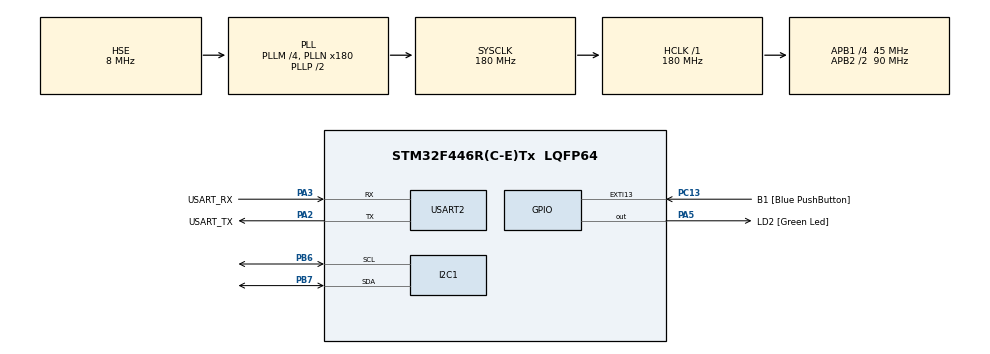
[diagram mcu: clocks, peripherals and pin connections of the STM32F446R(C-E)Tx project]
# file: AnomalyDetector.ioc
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I2C1.I2C_Mode=I2C_Fast
I2C1.OwnAddress=0x1D
Mcu.Family=STM32F4
Mcu.Name=STM32F446R(C-E)Tx
Mcu.Package=LQFP64
NVIC.PriorityGroup=NVIC_PRIORITYGROUP_0
PA13.GPIO_Label=TMS
PA13.Mode=Serial_Wire
PA13.Signal=SYS_JTMS-SWDIO
PA14.GPIO_Label=TCK
PA14.Mode=Serial_Wire
PA14.Signal=SYS_JTCK-SWCLK
PA2.GPIO_Label=USART_TX
PA2.Mode=Asynchronous
PA2.Signal=USART2_TX
PA3.GPIO_Label=USART_RX
PA3.Mode=Asynchronous
PA3.Signal=USART2_RX
PA5.GPIO_Label=LD2 [Green Led]
PA5.Signal=GPIO_Output
PB3.GPIO_Label=SWO
PB3.Signal=SYS_JTDO-SWO
PB6.Mode=I2C
PB6.Signal=I2C1_SCL
PB7.Mode=I2C
PB7.Signal=I2C1_SDA
PC13.GPIO_Label=B1 [Blue PushButton]
PC13.GPIO_ModeDefaultEXTI=GPIO_MODE_IT_FALLING
PC13.Signal=GPXTI13
PC14-OSC32_IN.Mode=LSE-External-Oscillator
PC14-OSC32_IN.Signal=RCC_OSC32_IN
PC15-OSC32_OUT.Mode=LSE-External-Oscillator
PC15-OSC32_OUT.Signal=RCC_OSC32_OUT
PH0-OSC_IN.Mode=HSE-External-Oscillator
PH0-OSC_IN.Signal=RCC_OSC_IN
PH1-OSC_OUT.Mode=HSE-External-Oscillator
PH1-OSC_OUT.Signal=RCC_OSC_OUT
ProjectManager.HeapSize=0x2000
ProjectManager.StackSize=0x1000
ProjectManager.TargetToolchain=Makefile
RCC.48MHZClocksFreq_Value=84000000
RCC.AHBFreq_Value=180000000
RCC.APB1CLKDivider=RCC_HCLK_DIV4
RCC.APB1Freq_Value=45000000
RCC.APB1TimFreq_Value=90000000
RCC.APB2CLKDivider=RCC_HCLK_DIV2
RCC.APB2Freq_Value=90000000
RCC.APB2TimFreq_Value=180000000
RCC.CortexFreq_Value=180000000
RCC.FLatency-AdvancedSettings=FLASH_LATENCY_5
RCC.HCLKFreq_Value=180000000
RCC.HSE_VALUE=8000000
RCC.HSI_VALUE=16000000
RCC.PLLM=4
RCC.PLLN=180
RCC.PLLSourceVirtual=RCC_PLLSOURCE_HSE
RCC.SYSCLKFreq_VALUE=180000000
RCC.SYSCLKSource=RCC_SYSCLKSOURCE_PLLCLK
RCC.USBFreq_Value=180000000
RCC.VCOOutputFreq_Value=360000000
STMicroelectronics.X-CUBE-AI.6.0.0.ActivationBufferSizeList=1612
STMicroelectronics.X-CUBE-AI.6.0.0.ApplicationCcDeviceJjApplication=ApplicationTemplate
STMicroelectronics.X-CUBE-AI.6.0.0.HeapSize=0x2000
STMicroelectronics.X-CUBE-AI.6.0.0.InternalRamActivationBufferMaxSize=AI_ANOMALYDETECTOR_DATA_ACTIVATIONS_SIZE
STMicroelectronics.X-CUBE-AI.6.0.0.LatestDirectoryUsed-48b27504ee12e7b7feb264ca5edda74bd1d10aa5bace6083a22dd53e57d49eab=D\:\\Programmation\\STM32\\AccelerometerReader\\Python
STMicroelectronics.X-CUBE-AI.6.0.0.MaximumNumberOfInputLayer=1
STMicroelectronics.X-CUBE-AI.6.0.0.MaximumNumberOfOutputLayer=1
STMicroelectronics.X-CUBE-AI.6.0.0.MaximumSizeOfInputLayer=AI_ANOMALYDETECTOR_IN_1_SIZE_BYTES
STMicroelectronics.X-CUBE-AI.6.0.0.MaximumSizeOfOutputLayer=AI_ANOMALYDETECTOR_OUT_1_SIZE_BYTES
STMicroelectronics.X-CUBE-AI.6.0.0.ModelActualCompression-48b27504ee12e7b7feb264ca5edda74bd1d10aa5bace6083a22dd53e57d49eab=0.0
STMicroelectronics.X-CUBE-AI.6.0.0.ModelCompression-48b27504ee12e7b7feb264ca5edda74bd1d10aa5bace6083a22dd53e57d49eab=1
STMicroelectronics.X-CUBE-AI.6.0.0.ModelFlashOccupation-48b27504ee12e7b7feb264ca5edda74bd1d10aa5bace6083a22dd53e57d49eab=19428
STMicroelectronics.X-CUBE-AI.6.0.0.ModelHashList=48b27504ee12e7b7feb264ca5edda74bd1d10aa5bace6083a22dd53e57d49eab
STMicroelectronics.X-CUBE-AI.6.0.0.ModelKind-48b27504ee12e7b7feb264ca5edda74bd1d10aa5bace6083a22dd53e57d49eab=KERAS
STMicroelectronics.X-CUBE-AI.6.0.0.ModelMacc-48b27504ee12e7b7feb264ca5edda74bd1d10aa5bace6083a22dd53e57d49eab=27106
STMicroelectronics.X-CUBE-AI.6.0.0.ModelName-48b27504ee12e7b7feb264ca5edda74bd1d10aa5bace6083a22dd53e57d49eab=anomalydetector
STMicroelectronics.X-CUBE-AI.6.0.0.ModelNameList=anomalydetector
STMicroelectronics.X-CUBE-AI.6.0.0.ModelRamOccupation-48b27504ee12e7b7feb264ca5edda74bd1d10aa5bace6083a22dd53e57d49eab=1612
STMicroelectronics.X-CUBE-AI.6.0.0.ModelStructureFile-48b27504ee12e7b7feb264ca5edda74bd1d10aa5bace6083a22dd53e57d49eab=/D\:/Programmation/STM32/AccelerometerReader/Python/anomaly_detection.h5
STMicroelectronics.X-CUBE-AI.6.0.0.ModelType-48b27504ee12e7b7feb264ca5edda74bd1d10aa5bace6083a22dd53e57d49eab=Saved model
STMicroelectronics.X-CUBE-AI.6.0.0.StackSize=0x1000
STMicroelectronics.X-CUBE-AI.6.0.0.WorkingBufferStartAddrList=0xFFFFFFFF
STMicroelectronics.X-CUBE-AI.6.0.0.XAaCUBEAaAICcArtificialOoIntelligenceJjCore=true
USART2.VirtualMode=VM_ASYNC
VP_CRC_VS_CRC.Mode=CRC_Activate
VP_STMicroelectronics.X-CUBE-AI_VS_ArtificialOoIntelligenceJjXAaCUBEAaAI_6.0.0.Mode=ArtificialOoIntelligenceJjXAaCUBEAaAI
VP_STMicroelectronics.X-CUBE-AI_VS_DeviceJjApplication_6.0.0.Mode=DeviceJjApplication
board=NUCLEO-F446RE

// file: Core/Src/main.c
/* USER CODE BEGIN Header */
/**
  ******************************************************************************
  * @file           : main.c
  * @brief          : Main program body
  ******************************************************************************
  * @attention
  *
  * <h2><center>&copy; Copyright (c) 2021 STMicroelectronics.
  * All rights reserved.</center></h2>
  *
  * This software component is licensed by ST under Ultimate Liberty license
  * SLA0044, the "License"; You may not use this file except in compliance with
  * the License. You may obtain a copy of the License at:
  *                             www.st.com/SLA0044
  *
  ******************************************************************************
  */
/* USER CODE END Header */
#include "main.h"
#include "crc.h"
#include "i2c.h"
#include "gpio.h"
#include "app_x-cube-ai.h"

/* USER CODE BEGIN Includes */
#include "adxl345.h"
#include "usart.h"
/* USER CODE END Includes */

void SystemClock_Config(void);

int main(void)
{

    /* MCU Configuration--------------------------------------------------------*/

    /* Reset of all peripherals, Initializes the Flash interface and the Systick. */
    HAL_Init();

    /* Configure the system clock */
    SystemClock_Config();

    /* Initialize all configured peripherals */
    MX_GPIO_Init();
    MX_CRC_Init();
    MX_I2C1_Init();
    MX_X_CUBE_AI_Init();
    /* USER CODE BEGIN 2 */
    MX_USART2_UART_Init();
    HAL_UART_Transmit(&huart2, (uint8_t *)"Initialing of UART module completed!\n", 37, 100);

    //Initialize the module
    HAL_StatusTypeDef status;
    char message[50];
    setTargetDeviceAddress(&hi2c1, 0x53 << 1);
    HAL_UART_Transmit(&huart2, (uint8_t *)"I2C Target address set!\n", 24, 100);
    status = AccelInit(&hi2c1);
    if (status == HAL_OK)
    {
        sprintf(message, "ADXL345 Module has been initialized successfully!\n");
        HAL_UART_Transmit(&huart2, (uint8_t *)&message, 50, 100);
    }
    else
    {
        HAL_UART_Transmit(&huart2, (uint8_t *)"ERROR!\n", 7, 100);
    }

    //Get ID of Accelerometer module (ensures the connection is working correctly)
    int id = 0;
    status = AccelGetId(&hi2c1, &id);
    if (status == HAL_OK)
    {
        sprintf(message, "ADXL345 ID is : %o\n", id);
        HAL_UART_Transmit(&huart2, (uint8_t *)&message, 20, 100);
    }

    /* USER CODE END 2 */

    /* Infinite loop */
    while (1)
    {

        MX_X_CUBE_AI_Process();
    }
}

void SystemClock_Config(void)
{
    RCC_OscInitTypeDef RCC_OscInitStruct = {0};
    RCC_ClkInitTypeDef RCC_ClkInitStruct = {0};

    /** Configure the main internal regulator output voltage
  */
    __HAL_RCC_PWR_CLK_ENABLE();
    __HAL_PWR_VOLTAGESCALING_CONFIG(PWR_REGULATOR_VOLTAGE_SCALE1);
    /** Initializes the RCC Oscillators according to the specified parameters
  * in the RCC_OscInitTypeDef structure.
  */
    RCC_OscInitStruct.OscillatorType = RCC_OSCILLATORTYPE_HSE;
    RCC_OscInitStruct.HSEState = RCC_HSE_ON;
    RCC_OscInitStruct.PLL.PLLState = RCC_PLL_ON;
    RCC_OscInitStruct.PLL.PLLSource = RCC_PLLSOURCE_HSE;
    RCC_OscInitStruct.PLL.PLLM = 4;
    RCC_OscInitStruct.PLL.PLLN = 180;
    RCC_OscInitStruct.PLL.PLLP = RCC_PLLP_DIV2;
    RCC_OscInitStruct.PLL.PLLQ = 2;
    RCC_OscInitStruct.PLL.PLLR = 2;
    if (HAL_RCC_OscConfig(&RCC_OscInitStruct) != HAL_OK)
    {
        Error_Handler();
    }
    /** Activate the Over-Drive mode
  */
    if (HAL_PWREx_EnableOverDrive() != HAL_OK)
    {
        Error_Handler();
    }
    /** Initializes the CPU, AHB and APB buses clocks
  */
    RCC_ClkInitStruct.ClockType = RCC_CLOCKTYPE_HCLK | RCC_CLOCKTYPE_SYSCLK | RCC_CLOCKTYPE_PCLK1 | RCC_CLOCKTYPE_PCLK2;
    RCC_ClkInitStruct.SYSCLKSource = RCC_SYSCLKSOURCE_PLLCLK;
    RCC_ClkInitStruct.AHBCLKDivider = RCC_SYSCLK_DIV1;
    RCC_ClkInitStruct.APB1CLKDivider = RCC_HCLK_DIV4;
    RCC_ClkInitStruct.APB2CLKDivider = RCC_HCLK_DIV2;

    if (HAL_RCC_ClockConfig(&RCC_ClkInitStruct, FLASH_LATENCY_5) != HAL_OK)
    {
        Error_Handler();
    }
}

void Error_Handler(void)
{
    __disable_irq();
    while (1)
    {
    }
}

/************************ (C) COPYRIGHT STMicroelectronics *****END OF FILE****/
